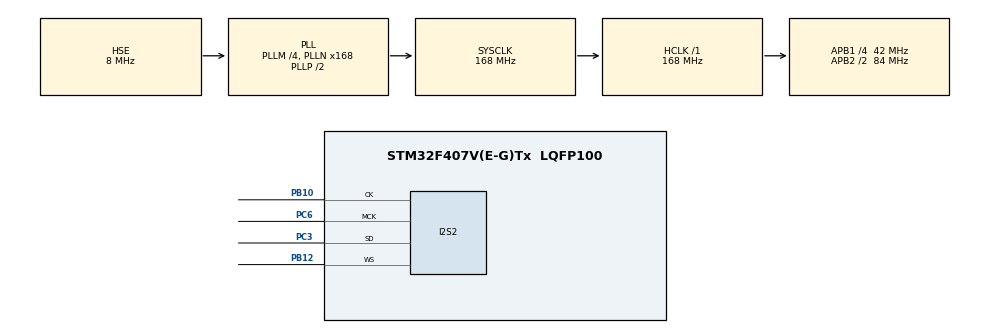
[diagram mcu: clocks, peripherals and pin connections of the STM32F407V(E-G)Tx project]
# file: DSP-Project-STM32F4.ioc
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I2S2.AudioFreq=I2S_AUDIOFREQ_8K
I2S2.ErrorAudioFreq=0.03 %
I2S2.FullDuplexMode=I2S_FULLDUPLEXMODE_DISABLE
I2S2.Instance=SPI$Index
I2S2.Mode=I2S_MODE_MASTER_RX
I2S2.RealAudioFreq=8.003 KHz
I2S2.VirtualMode=I2S_MODE_MASTER
Mcu.Family=STM32F4
Mcu.Name=STM32F407V(E-G)Tx
Mcu.Package=LQFP100
NVIC.PriorityGroup=NVIC_PRIORITYGROUP_0
PB10.Mode=Half_Duplex_Master
PB10.Signal=I2S2_CK
PB12.Mode=Half_Duplex_Master
PB12.Signal=I2S2_WS
PC3.Mode=Half_Duplex_Master
PC3.Signal=I2S2_SD
PC6.Mode=Master_Clock_Activated
PC6.Signal=I2S2_MCK
PH0-OSC_IN.Mode=HSE-External-Oscillator
PH0-OSC_IN.Signal=RCC_OSC_IN
PH1-OSC_OUT.Mode=HSE-External-Oscillator
PH1-OSC_OUT.Signal=RCC_OSC_OUT
ProjectManager.HeapSize=0x200
ProjectManager.StackSize=0x400
ProjectManager.TargetToolchain=STM32CubeIDE
RCC.48MHZClocksFreq_Value=48000000
RCC.AHBFreq_Value=168000000
RCC.APB1CLKDivider=RCC_HCLK_DIV4
RCC.APB1Freq_Value=42000000
RCC.APB1TimFreq_Value=84000000
RCC.APB2CLKDivider=RCC_HCLK_DIV2
RCC.APB2Freq_Value=84000000
RCC.APB2TimFreq_Value=168000000
RCC.CortexFreq_Value=168000000
RCC.HCLKFreq_Value=168000000
RCC.HSE_VALUE=8000000
RCC.HSI_VALUE=16000000
RCC.LSE_VALUE=32768
RCC.PLLI2SN=168
RCC.PLLM=4
RCC.PLLN=168
RCC.PLLQ=7
RCC.PLLSourceVirtual=RCC_PLLSOURCE_HSE
RCC.SYSCLKFreq_VALUE=168000000
RCC.SYSCLKSource=RCC_SYSCLKSOURCE_PLLCLK
RCC.VCOOutputFreq_Value=336000000
board=STM32F407G-DISC1

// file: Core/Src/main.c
/* USER CODE BEGIN Header */
/**
  ******************************************************************************
  * @file           : main.c
  * @brief          : Main program body
  ******************************************************************************
  * @attention
  *
  * Copyright (c) 2024 STMicroelectronics.
  * All rights reserved.
  *
  * This software is licensed under terms that can be found in the LICENSE file
  * in the root directory of this software component.
  * If no LICENSE file comes with this software, it is provided AS-IS.
  *
  ******************************************************************************
  */
/* USER CODE END Header */
#include "main.h"
#include <stdint.h>

/* USER CODE BEGIN PD */
//#define InputBufferSize 52000
#define InputBufferSize 20000
#define OutputBufferSize InputBufferSize*2-1
#define OutputBufferSizePCM InputBufferSize

/* USER CODE END PD */

I2S_HandleTypeDef hi2s2;

/* USER CODE BEGIN PV */
PDMFilter_InitStruct Filter;

/* USER CODE END PV */

void SystemClock_Config(void);
static void MX_GPIO_Init(void);
static void MX_I2S2_Init(void);
/* USER CODE BEGIN PFP */
void Init_PDM(void);
void sixteenbits_to_eightbits_converter(uint16_t *InputBuffer, uint8_t *ConvertedBuffer);

/* USER CODE END PFP */

int main(void)
{

  /* USER CODE BEGIN 1 */
  //uint16_t InputBufferSize = 52000;
  //uint16_t OutputBufferSize = 52000;
  uint16_t InputBuffer[InputBufferSize];
  uint8_t OutputBuffer[OutputBufferSize];
  uint16_t OutputBufferPCM[OutputBufferSizePCM];
  uint32_t TimeoutReceive = 100;

  uint16_t MicGain = 20;

  /* USER CODE END 1 */

  /* MCU Configuration--------------------------------------------------------*/

  /* Reset of all peripherals, Initializes the Flash interface and the Systick. */
  HAL_Init();

  /* Configure the system clock */
  SystemClock_Config();

  /* Initialize all configured peripherals */
  MX_GPIO_Init();
  MX_I2S2_Init();
  /* USER CODE BEGIN 2 */
  HAL_I2S_Receive(&hi2s2, InputBuffer, InputBufferSize, TimeoutReceive);
  HAL_I2S_DeInit(&hi2s2);
  Init_PDM();
  sixteenbits_to_eightbits_converter(InputBuffer, OutputBuffer);
  PDM_Filter_64_MSB(OutputBuffer, OutputBufferPCM, MicGain, &Filter);

  for(uint16_t i = 0 ; i < OutputBufferSizePCM ; i++)
  {
	  printf("%u\n", OutputBufferPCM[i]);
	  HAL_Delay(10);
  }

  /* USER CODE END 2 */

  /* Infinite loop */
  while (1)
  {

  }
}

void SystemClock_Config(void)
{
  RCC_OscInitTypeDef RCC_OscInitStruct = {0};
  RCC_ClkInitTypeDef RCC_ClkInitStruct = {0};

  /** Configure the main internal regulator output voltage
  */
  __HAL_RCC_PWR_CLK_ENABLE();
  __HAL_PWR_VOLTAGESCALING_CONFIG(PWR_REGULATOR_VOLTAGE_SCALE1);

  /** Initializes the RCC Oscillators according to the specified parameters
  * in the RCC_OscInitTypeDef structure.
  */
  RCC_OscInitStruct.OscillatorType = RCC_OSCILLATORTYPE_HSE;
  RCC_OscInitStruct.HSEState = RCC_HSE_ON;
  RCC_OscInitStruct.PLL.PLLState = RCC_PLL_ON;
  RCC_OscInitStruct.PLL.PLLSource = RCC_PLLSOURCE_HSE;
  RCC_OscInitStruct.PLL.PLLM = 4;
  RCC_OscInitStruct.PLL.PLLN = 168;
  RCC_OscInitStruct.PLL.PLLP = RCC_PLLP_DIV2;
  RCC_OscInitStruct.PLL.PLLQ = 7;
  if (HAL_RCC_OscConfig(&RCC_OscInitStruct) != HAL_OK)
  {
    Error_Handler();
  }

  /** Initializes the CPU, AHB and APB buses clocks
  */
  RCC_ClkInitStruct.ClockType = RCC_CLOCKTYPE_HCLK|RCC_CLOCKTYPE_SYSCLK
                              |RCC_CLOCKTYPE_PCLK1|RCC_CLOCKTYPE_PCLK2;
  RCC_ClkInitStruct.SYSCLKSource = RCC_SYSCLKSOURCE_PLLCLK;
  RCC_ClkInitStruct.AHBCLKDivider = RCC_SYSCLK_DIV1;
  RCC_ClkInitStruct.APB1CLKDivider = RCC_HCLK_DIV4;
  RCC_ClkInitStruct.APB2CLKDivider = RCC_HCLK_DIV2;

  if (HAL_RCC_ClockConfig(&RCC_ClkInitStruct, FLASH_LATENCY_5) != HAL_OK)
  {
    Error_Handler();
  }
}

static void MX_I2S2_Init(void)
{

  hi2s2.Instance = SPI2;
  hi2s2.Init.Mode = I2S_MODE_MASTER_RX;
  hi2s2.Init.Standard = I2S_STANDARD_PHILIPS;
  hi2s2.Init.DataFormat = I2S_DATAFORMAT_16B;
  hi2s2.Init.MCLKOutput = I2S_MCLKOUTPUT_ENABLE;
  hi2s2.Init.AudioFreq = I2S_AUDIOFREQ_8K;
  hi2s2.Init.CPOL = I2S_CPOL_LOW;
  hi2s2.Init.ClockSource = I2S_CLOCK_PLL;
  hi2s2.Init.FullDuplexMode = I2S_FULLDUPLEXMODE_DISABLE;
  if (HAL_I2S_Init(&hi2s2) != HAL_OK)
  {
    Error_Handler();
  }

}

static void MX_GPIO_Init(void)
{

  /* GPIO Ports Clock Enable */
  __HAL_RCC_GPIOH_CLK_ENABLE();
  __HAL_RCC_GPIOC_CLK_ENABLE();
  __HAL_RCC_GPIOB_CLK_ENABLE();

}

/* USER CODE BEGIN 4 */
void Init_PDM(void)
{
	Filter.LP_HZ = 8000;
	Filter.HP_HZ = 10;
	Filter.Fs = 16000;
	Filter.Out_MicChannels = 1;
	Filter.In_MicChannels = 1;

	__RCC_CRC_CLK_ENABLE();

	PDM_Filter_Init(&Filter);

}

void sixteenbits_to_eightbits_converter(uint16_t *InputBuffer, uint8_t *ConvertedBuffer)
{
	// Supposons que pData est rempli par HAL_I2S_Receive et qu'InputBufferSize est le nombre d'échantillons reçus
	//uint16_t InputBuffer[InputBufferSize]; // Buffer pour les données PDM en uint16_t
	//uint8_t ConvertedBuffer[InputBufferSize * 2]; // Buffer pour les données converties en uint8_t (car 16 bits = 2 octets)

	// Conversion de uint16_t à uint8_t
	for (uint32_t i = 0; i < InputBufferSize; i++) {
		// Extrait les bits de pData (16 bits) et les stocke dans ConvertedBuffer (8 bits)
		ConvertedBuffer[i * 2] = (InputBuffer[i] & 0xFF);         // 8 bits de poids faible
		ConvertedBuffer[i * 2 + 1] = (InputBuffer[i] >> 8) & 0xFF; // 8 bits de poids fort
	}
}

/* USER CODE END 4 */

void Error_Handler(void)
{
  __disable_irq();
  while (1)
  {
  }
}
